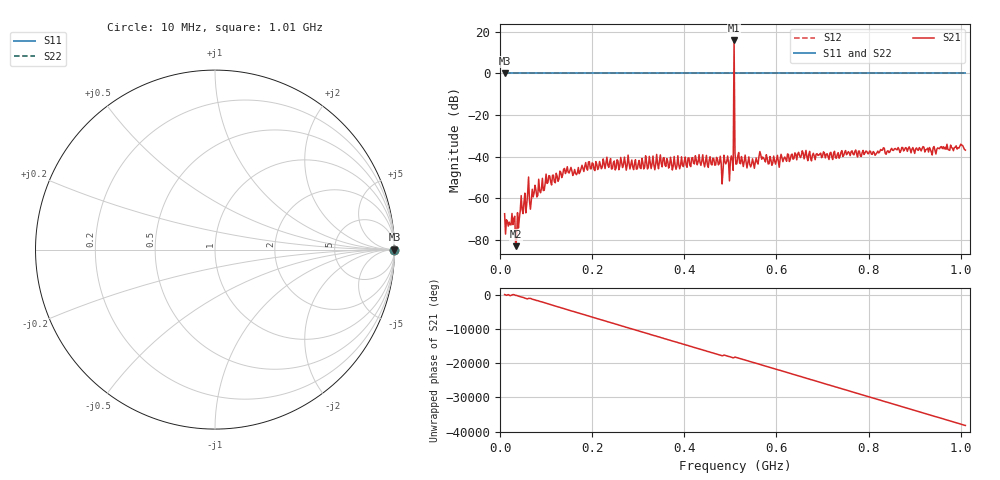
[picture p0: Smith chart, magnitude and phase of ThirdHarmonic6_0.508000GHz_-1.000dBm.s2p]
! 8/15/2025 3:25:59 PM
! C:\ANRITSUVNA\TEMP\TEMP.S2P
! CHANNEL.1
! TR.MEASUREMENT
! RAW.DATA
! RF.CORRECTION.OFF
! AVERAGING.OFF
! IF.BANDWIDTH: 5KHZ
! SWEEPTYPE:  FREQ.SWEEP(Linear)
! Reference Plane Port Info
! PORT:  PORT1  PORT2
! DISTANCE:  0  m  0  m
! TIME:  0  s  0  s
! PHASE.OFFSET:  0  deg.  0  deg.
! LOSS:  0  dB  0  dB
! REF.LOSS:  0  dB  0  dB
! REF.FREQ:  0  Hz  0  Hz
! Power Info
! POWER:  -20  dBm  -20  dBm
! EFF.POWER:  -20  dBm  -20  dBm
! SOURCE.ATTEN:  0  dB  0  dB
! TEST.ATTEN:  0  dB  0  dB
# GHZ S RI R 50.0
! FREQ.GHZ  S11RE  S11IM  S21RE  S21IM  S12RE  S12IM  S22RE  S22IM
!; PortSelection: Port_12
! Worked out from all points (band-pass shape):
!   501 points, 10 MHz to 1.01 GHz, reference 50 ohm
!   highest |S21| = 15.73 dB at 508 MHz (marker M1); lowest = -83.0 dB at 34 MHz (marker M2)
!   |S21| within 3 dB of the highest: 507.9038 MHz to 508.1107 MHz (206.9 kHz wide, 0.0407 % of centre)
!   lowest |S11| = 0.0 dB at 10 MHz (marker M3)
!   |S11| at or under -10 dB: nowhere
!   |S22| runs from 0.0 to 0.0 dB; largest |S21 - S12| = 5.3
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0.01  1 0  -0.000372 0.000202  1 0  1 0
0.034  1 0  -3.81e-05 -5.92e-05  1 0  1 0
0.038  1 0  -0.00032 0.000315  1 0  1 0
0.042  1 0  0.000218 -0.000253  1 0  1 0
0.058  1 0  0.000707 -8.72e-05  1 0  1 0
0.068  1 0  0.000874 0.0002  1 0  1 0
0.104  1 0  0.00168 -0.00167  1 0  1 0
0.178  1 0  -0.00584 -0.00194  1 0  1 0
0.344  1 0  0.00508 0.000393  1 0  1 0
0.49  1 0  -0.00096 -0.00658  1 0  1 0
0.502  1 0  -0.0077 0.00687  1 0  1 0
0.504  1 0  0.00495 0.00629  1 0  1 0
0.508  1 0  5.241 3.15  1 0  1 0
0.51  1 0  -0.0117 -0.00254  1 0  1 0
0.512  1 0  -0.000651 0.0065  1 0  1 0
0.514  1 0  0.00545 0.00393  1 0  1 0
0.548  1 0  -0.00264 0.00839  1 0  1 0
0.566  1 0  -0.000473 0.0108  1 0  1 0
0.586  1 0  0.00923 0.00388  1 0  1 0
0.678  1 0  0.0062 -0.00873  1 0  1 0
0.844  1 0  -0.00388 0.0118  1 0  1 0
1.01  1 0  0.00578 -0.013  1 0  1 0
